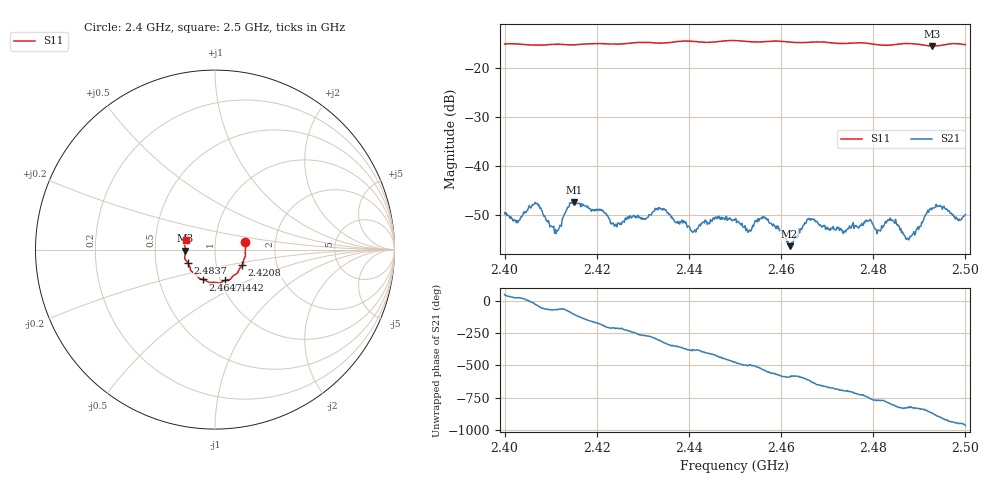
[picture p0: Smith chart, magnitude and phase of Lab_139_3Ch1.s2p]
# Hz S RI R 50
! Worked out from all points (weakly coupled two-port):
!   601 points, 2.4 GHz to 2.5 GHz, reference 50 ohm
!   highest |S21| = -47.33 dB at 2.415 GHz (marker M1); lowest = -56.3 dB at 2.4618 GHz (marker M2)
!   lowest |S11| = -15.6 dB at 2.4928 GHz (marker M3), VSWR 1.40, Z = 35.8 - j0.378 ohm
!   |S11| at or under -10 dB: start of sweep to end of sweep
!   S12 and S22 are empty: the file has one direction only
!   S11 on the Smith chart (normalised r, x): 2.4 GHz: 1.40, +0.12; 2.4208 GHz: 1.33, -0.24; 2.4442 GHz: 1.05, -0.37; 2.4647 GHz: 0.83, -0.29; 2.4837 GHz: 0.73, -0.11; 2.5 GHz: 0.72, +0.08
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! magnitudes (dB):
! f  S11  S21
! 2.4 GHz  -15.2  -49.5
! 2.407 GHz  -15.4  -47.6
! 2.4113 GHz  -15.3  -53.1
! 2.415 GHz  -15.4  -47.3
! 2.4167 GHz  -15.3  -47.7
! 2.4208 GHz  -15.1  -49.0
! 2.4238 GHz  -15.2  -52.3
! 2.4333 GHz  -15.0  -48.9
! 2.441 GHz  -14.7  -53.3
! 2.4442 GHz  -14.9  -51.6
! 2.45 GHz  -14.5  -50.9
! 2.4532 GHz  -14.7  -53.0
! 2.4565 GHz  -14.7  -50.4
! 2.4618 GHz  -14.8  -56.3
! 2.4647 GHz  -14.9  -52.3
! 2.4667 GHz  -14.8  -50.9
! 2.4737 GHz  -15.1  -53.4
! 2.4833 GHz  -15.5  -51.1
! 2.4837 GHz  -15.4  -50.5
! 2.4877 GHz  -15.1  -55.0
! 2.4928 GHz  -15.6  -48.5
! 2.5 GHz  -15.3  -49.8
